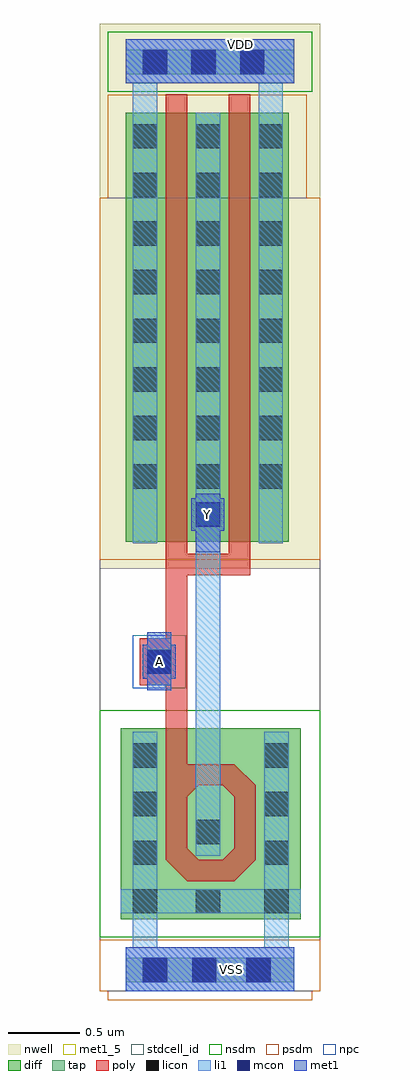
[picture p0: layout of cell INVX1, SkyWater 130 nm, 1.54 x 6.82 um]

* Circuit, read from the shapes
.subckt INVX1 A VDD VSS Y
XM1 VSS A Y VSS sky130_fd_pr__nfet_01v8 w=2.475 l=0.147
XM2 Y A VDD VDD sky130_fd_pr__pfet_01v8 w=3 l=0.15 m=2
.ends

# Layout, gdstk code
import gdstk
lib = gdstk.Library(unit=1e-6, precision=1e-09)
def R(c, l, rs):  # rectangles x0, y0, x1, y1
    for r in rs: c.add(gdstk.rectangle(r[:2], r[2:], *l))
def A(c, l, x, y, w, h, nx, ny, dx, dy):  # array of equal rectangles
    R(c, l, [(x+i*dx, y+j*dy, x+i*dx+w, y+j*dy+h) for i in range(nx) for j in range(ny)])
def P(c, l, *ps):  # polygons
    for p in ps: c.add(gdstk.Polygon(p, *l))
nwell = (64, 20)
diff = (65, 20)
tap = (65, 44)
poly = (66, 20)
licon = (66, 44)
li1 = (67, 20)
mcon = (67, 44)
met1_5 = (68, 5)
met1 = (68, 20)
stdcell_id = (81, 4)
nsdm = (93, 44)
psdm = (94, 20)
npc = (95, 20)

invx1 = lib.new_cell('INVX1')
R(invx1, nwell, [(-0.18,2.955,1.36,6.765)])
R(invx1, diff, [(-0.035,0.505,1.225,1.84), (0,3.145,1.14,6.145)])
R(invx1, tap, [(0,0.065,1.18,0.235), (0,6.415,1.18,6.585)])
R(invx1, poly, [(0.43,0.77,0.76,0.92), (0.28,0.92,0.43,1.44), (0.76,0.92,0.91,1.44), (0.28,1.44,0.76,1.59), (0.28,1.59,0.43,2.14), (0.1,2.14,0.43,2.47), (0.28,2.47,0.43,2.91), (0.28,2.91,0.87,3.06), (0.28,3.06,0.43,6.275), (0.72,3.06,0.87,6.275)])
P(invx1, poly, [(0.76,1.59),(0.76,1.44),(0.91,1.44)],
  [(0.43,1.36),(0.43,1.44),(0.51,1.44)],
  [(0.68,1.44),(0.76,1.44),(0.76,1.36)],
  [(0.43,1),(0.43,0.92),(0.51,0.92)],
  [(0.68,0.92),(0.76,0.92),(0.76,1)],
  [(0.28,0.92),(0.43,0.92),(0.43,0.77)],
  [(0.76,0.77),(0.76,0.92),(0.91,0.92)])
A(invx1, licon, 0.05, 0.545, 0.17, 0.17, 1, 4, 0, 0.34)
A(invx1, licon, 0.97, 0.545, 0.17, 0.17, 1, 4, 0, 0.34)
A(invx1, licon, 0.05, 3.515, 0.17, 0.17, 3, 8, 0.44, 0.34)
A(invx1, licon, 0.12, 6.415, 0.17, 0.17, 3, 1, 0.34, 0)
R(invx1, licon, [(0.12,0.065,0.29,0.235), (0.465,0.065,0.635,0.235), (0.845,0.065,1.015,0.235), (0.49,0.545,0.66,0.715), (0.49,1.03,0.66,1.2), (0.15,2.22,0.32,2.39)])
R(invx1, li1, [(0,0,1.18,0.31), (0.05,0.31,0.22,0.545), (0.97,0.31,1.14,0.545), (-0.035,0.545,1.225,0.715), (0.05,0.715,0.22,1.815), (0.97,0.715,1.14,1.815), (0.49,0.95,0.66,6.145), (0.15,2.14,0.32,2.47), (0.05,3.135,0.22,6.35), (0.93,3.135,1.1,6.35), (0,6.35,1.18,6.66)])
A(invx1, mcon, 0.12, 6.415, 0.17, 0.17, 3, 1, 0.34, 0)
R(invx1, mcon, [(0.12,0.065,0.29,0.235), (0.465,0.065,0.635,0.235), (0.845,0.065,1.015,0.235), (0.15,2.22,0.32,2.39), (0.49,3.25,0.66,3.42)])
R(invx1, met1_5, [(0.15,2.22,0.32,2.39), (0.49,3.25,0.66,3.42)])
R(invx1, met1, [(0,0,1.18,0.31), (0.15,2.105,0.32,2.185), (0.12,2.185,0.35,2.425), (0.15,2.425,0.32,2.51), (0.49,3.07,0.66,3.22), (0.46,3.22,0.69,3.45), (0.49,3.45,0.66,3.48), (0,6.35,1.18,6.66)])
R(invx1, stdcell_id, [(-0.18,0,1.36,5.55)])
R(invx1, nsdm, [(-0.18,0.38,1.36,1.965), (-0.125,6.29,1.305,6.71)])
R(invx1, psdm, [(-0.125,-0.06,1.305,0), (-0.18,0,1.36,0.36), (-0.18,3.02,1.36,5.55), (-0.125,5.55,1.265,6.27)])
R(invx1, npc, [(0.05,2.12,0.42,2.49)])
invx1.add(gdstk.Label('VDD', (0.805,6.625), layer=68, texttype=5))
invx1.add(gdstk.Label('A', (0.235,2.305), layer=68, texttype=5))
invx1.add(gdstk.Label('VSS', (0.74,0.155), layer=68, texttype=5))
invx1.add(gdstk.Label('Y', (0.575,3.335), layer=68, texttype=5))

lib.write_gds('INVX1.gds')
